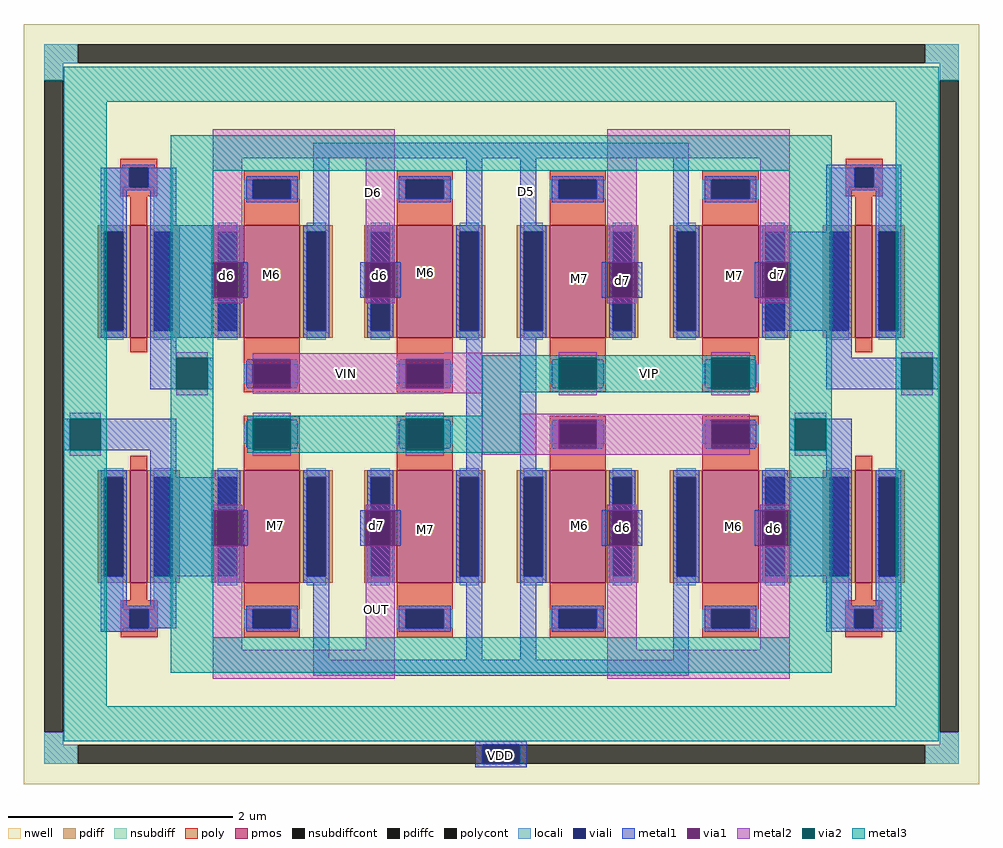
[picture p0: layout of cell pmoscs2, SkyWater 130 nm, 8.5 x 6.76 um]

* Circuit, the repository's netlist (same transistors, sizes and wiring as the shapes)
* NGSPICE file created from pmoscs2.ext - technology: sky130A

.subckt sky130_fd_pr__pfet_01v8_FH5654 a_n86_n318# a_n86_118# a_358_n415# a_300_n318#
+ a_n244_n318# a_n458_n415# a_86_21# w_n552_n418# a_28_n318# a_n358_n318# a_n458_21#
+ a_186_n318# a_300_118# a_n516_n318# a_358_21# a_n186_21# a_28_118# a_458_n318# a_86_n415#
+ a_n186_n415# a_n244_118# a_n516_118# w_n552_18# a_n358_118# a_458_118# a_186_118#
X0 a_458_118# a_358_21# a_300_118# w_n552_18# sky130_fd_pr__pfet_01v8 ad=0.29 pd=2.58 as=0.29 ps=2.58 w=1 l=0.5
X1 a_186_118# a_86_21# a_28_118# w_n552_18# sky130_fd_pr__pfet_01v8 ad=0.29 pd=2.58 as=0.29 ps=2.58 w=1 l=0.5
X2 a_n358_n318# a_n458_n415# a_n516_n318# w_n552_n418# sky130_fd_pr__pfet_01v8 ad=0.29 pd=2.58 as=0.29 ps=2.58 w=1 l=0.5
X3 a_n86_118# a_n186_21# a_n244_118# w_n552_18# sky130_fd_pr__pfet_01v8 ad=0.29 pd=2.58 as=0.29 ps=2.58 w=1 l=0.5
X4 a_458_n318# a_358_n415# a_300_n318# w_n552_n418# sky130_fd_pr__pfet_01v8 ad=0.29 pd=2.58 as=0.29 ps=2.58 w=1 l=0.5
X5 a_186_n318# a_86_n415# a_28_n318# w_n552_n418# sky130_fd_pr__pfet_01v8 ad=0.29 pd=2.58 as=0.29 ps=2.58 w=1 l=0.5
X6 a_n358_118# a_n458_21# a_n516_118# w_n552_18# sky130_fd_pr__pfet_01v8 ad=0.29 pd=2.58 as=0.29 ps=2.58 w=1 l=0.5
X7 a_n86_n318# a_n186_n415# a_n244_n318# w_n552_n418# sky130_fd_pr__pfet_01v8 ad=0.29 pd=2.58 as=0.29 ps=2.58 w=1 l=0.5
.ends

.subckt sky130_fd_pr__pfet_01v8_2XUZHN a_n73_n100# w_n109_n162# a_15_n100# a_n15_n126#
X0 a_15_n100# a_n15_n126# a_n73_n100# w_n109_n162# sky130_fd_pr__pfet_01v8 ad=0.29 pd=2.58 as=0.29 ps=2.58 w=1 l=0.15
.ends

.subckt pmoscs2 VDD D5 D6 VIP OUT VIN
Xsky130_fd_pr__pfet_01v8_FH5654_0 D5 D5 VIN D5 OUT VIP VIP VDD D5 D5 VIN D6 D5 OUT
+ VIP VIN D5 D6 VIN VIP D6 D6 VDD D5 OUT OUT sky130_fd_pr__pfet_01v8_FH5654
Xsky130_fd_pr__pfet_01v8_2XUZHN_0 OUT VDD OUT OUT sky130_fd_pr__pfet_01v8_2XUZHN
Xsky130_fd_pr__pfet_01v8_2XUZHN_1 OUT VDD OUT OUT sky130_fd_pr__pfet_01v8_2XUZHN
Xsky130_fd_pr__pfet_01v8_2XUZHN_2 D6 VDD D6 D6 sky130_fd_pr__pfet_01v8_2XUZHN
Xsky130_fd_pr__pfet_01v8_2XUZHN_3 D6 VDD D6 D6 sky130_fd_pr__pfet_01v8_2XUZHN
.ends

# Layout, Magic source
magic
tech sky130A
magscale 1 2
<< nwell >>
rect -297 -258 1402 1094
<< nsubdiff >>
rect -261 1024 -201 1058
rect 1306 1024 1366 1058
rect -261 994 -227 1024
rect 1332 994 1366 1024
rect -261 -188 -227 -166
rect 1332 -188 1366 -166
rect -261 -222 -201 -188
rect 1306 -222 1366 -188
<< nsubdiffcont >>
rect -201 1024 1306 1058
rect -261 -166 -227 994
rect 1332 -166 1366 994
rect -201 -222 1306 -188
<< poly >>
rect -126 838 -60 854
rect -126 804 -110 838
rect -76 804 -60 838
rect -126 788 -60 804
rect 1165 838 1231 854
rect 1165 804 1181 838
rect 1215 804 1231 838
rect 1165 788 1231 804
rect -108 762 -78 788
rect 1182 760 1212 788
rect -108 69 -78 75
rect 1182 69 1212 100
rect -125 53 -59 69
rect -125 19 -109 53
rect -75 19 -59 53
rect -125 3 -59 19
rect 1164 53 1230 69
rect 1164 19 1180 53
rect 1214 19 1230 53
rect 1164 3 1230 19
<< polycont >>
rect -110 804 -76 838
rect 1181 804 1215 838
rect -109 19 -75 53
rect 1180 19 1214 53
<< locali >>
rect -261 1024 -201 1058
rect 1306 1024 1366 1058
rect -261 994 -227 1024
rect 1332 994 1366 1024
rect -154 804 -110 838
rect -76 804 -32 838
rect -154 736 -120 804
rect -66 736 -32 804
rect 1136 804 1181 838
rect 1215 804 1258 838
rect 1136 740 1170 804
rect 1224 738 1258 804
rect -154 53 -120 97
rect -66 53 -32 98
rect -154 19 -109 53
rect -75 19 -32 53
rect 1136 53 1170 96
rect 1224 53 1258 96
rect 1136 19 1180 53
rect 1214 19 1258 53
rect -154 13 -120 19
rect -261 -188 -227 -166
rect 1332 -188 1366 -166
rect -261 -222 -201 -188
rect 1306 -222 1366 -188
<< viali >>
rect -110 804 -76 838
rect 1181 804 1215 838
rect -109 19 -75 53
rect 1180 19 1214 53
rect 518 -222 585 -188
<< metal1 >>
rect 218 855 886 883
rect -122 838 -64 844
rect -160 804 -110 838
rect -76 804 -26 838
rect -160 798 -26 804
rect -160 724 -114 798
rect -72 736 -26 798
rect -72 724 82 736
rect 218 724 246 855
rect 490 724 518 855
rect 586 724 614 855
rect 858 724 886 855
rect 1130 838 1264 844
rect 1130 804 1181 838
rect 1215 804 1264 838
rect 1130 798 1264 804
rect 1130 730 1176 798
rect 1218 730 1264 798
rect -66 670 82 724
rect 1022 670 1170 724
rect -66 607 39 670
rect 91 607 101 670
rect 301 607 311 670
rect 363 607 373 670
rect 731 607 741 670
rect 793 607 803 670
rect 1003 607 1013 670
rect 1065 607 1170 670
rect -66 548 82 607
rect 1022 548 1170 607
rect -72 536 82 548
rect -72 444 -26 536
rect 30 444 40 500
rect 100 446 110 498
rect 178 446 188 498
rect 372 446 382 498
rect 450 446 460 498
rect -226 336 -216 392
rect -160 336 -26 392
rect 100 338 110 390
rect 178 338 188 390
rect 372 338 382 390
rect 450 338 460 390
rect -72 293 -26 336
rect 490 288 518 548
rect 586 288 614 548
rect 1130 500 1176 539
rect 644 446 654 498
rect 722 446 732 498
rect 916 446 926 498
rect 994 446 1004 498
rect 1130 444 1264 500
rect 1320 444 1330 500
rect 644 338 654 390
rect 722 338 732 390
rect 916 338 926 390
rect 994 338 1004 390
rect 1064 336 1074 392
rect 1130 300 1176 392
rect -66 229 82 288
rect 1022 229 1170 288
rect -66 166 39 229
rect 91 166 101 229
rect 301 166 311 229
rect 363 166 373 229
rect 731 166 741 229
rect 793 166 803 229
rect 1003 166 1013 229
rect 1065 166 1170 229
rect -66 112 82 166
rect 1022 112 1170 166
rect -160 59 -114 101
rect -72 59 -26 106
rect -160 53 -26 59
rect -160 19 -109 53
rect -75 19 -26 53
rect -160 13 -63 19
rect 218 -37 246 112
rect 490 -37 518 112
rect 586 -37 614 112
rect 858 -37 886 112
rect 1130 59 1176 100
rect 1218 59 1264 100
rect 1130 53 1264 59
rect 1130 19 1180 53
rect 1214 19 1264 53
rect 1130 13 1264 19
rect 218 -65 886 -37
rect 506 -188 597 -182
rect 506 -222 518 -188
rect 585 -222 597 -188
rect 506 -228 597 -222
<< via1 >>
rect 39 607 91 670
rect 311 607 363 670
rect 741 607 793 670
rect 1013 607 1065 670
rect -26 444 30 500
rect 110 446 178 498
rect 382 446 450 498
rect -216 336 -160 392
rect 110 338 178 390
rect 382 338 450 390
rect 654 446 722 498
rect 926 446 994 498
rect 1264 444 1320 500
rect 654 338 722 390
rect 926 338 994 390
rect 1074 336 1130 392
rect 39 166 91 229
rect 311 166 363 229
rect 741 166 793 229
rect 1013 166 1065 229
<< metal2 >>
rect 39 855 363 907
rect 39 670 91 855
rect 39 597 91 607
rect 311 670 363 855
rect 311 597 363 607
rect 741 855 1065 907
rect 741 670 793 855
rect 741 597 793 607
rect 1013 670 1065 855
rect 1013 597 1065 607
rect -26 500 30 510
rect 450 508 586 509
rect -26 434 30 444
rect 110 498 586 508
rect 178 446 382 498
rect 450 446 586 498
rect 110 437 586 446
rect 110 436 450 437
rect -216 392 -160 402
rect -216 326 -160 336
rect 110 392 178 402
rect 110 326 178 336
rect 382 392 450 402
rect 382 326 450 336
rect 518 401 586 437
rect 654 500 722 510
rect 654 434 722 444
rect 926 500 994 510
rect 926 434 994 444
rect 1264 500 1320 510
rect 1264 434 1320 444
rect 518 400 722 401
rect 518 390 994 400
rect 518 338 654 390
rect 722 338 926 390
rect 518 328 994 338
rect 1074 392 1130 402
rect 1074 326 1130 336
rect 39 229 91 239
rect 39 -19 91 166
rect 311 229 363 239
rect 311 -19 363 166
rect 39 -71 363 -19
rect 741 229 793 239
rect 741 -19 793 166
rect 1013 229 1065 239
rect 1013 -19 1065 166
rect 741 -71 1065 -19
<< via2 >>
rect -26 444 30 500
rect -216 336 -160 392
rect 110 390 178 392
rect 110 338 178 390
rect 110 336 178 338
rect 382 390 450 392
rect 382 338 450 390
rect 382 336 450 338
rect 654 498 722 500
rect 654 446 722 498
rect 654 444 722 446
rect 926 498 994 500
rect 926 446 994 498
rect 926 444 994 446
rect 1264 444 1320 500
rect 1074 336 1130 392
<< metal3 >>
rect -226 956 1330 1018
rect -226 392 -150 956
rect -226 336 -216 392
rect -160 336 -150 392
rect -226 -120 -150 336
rect -36 833 1140 896
rect -36 500 40 833
rect -36 444 -26 500
rect 30 444 40 500
rect -36 3 40 444
rect 518 500 1004 505
rect 518 444 654 500
rect 722 444 926 500
rect 994 444 1004 500
rect 518 439 1004 444
rect 518 397 586 439
rect 100 392 586 397
rect 100 336 110 392
rect 178 336 382 392
rect 450 336 586 392
rect 100 331 586 336
rect 1064 392 1140 833
rect 1064 336 1074 392
rect 1130 336 1140 392
rect 1064 3 1140 336
rect -36 -60 1140 3
rect 1254 500 1330 956
rect 1254 444 1264 500
rect 1320 444 1330 500
rect 1254 -120 1330 444
rect -226 -182 1330 -120
use sky130_fd_pr__pfet_01v8_2XUZHN  sky130_fd_pr__pfet_01v8_2XUZHN_0
transform 1 0 1197 0 1 636
box -109 -162 109 162
use sky130_fd_pr__pfet_01v8_2XUZHN  sky130_fd_pr__pfet_01v8_2XUZHN_1
transform 1 0 -93 0 1 200
box -109 -162 109 162
use sky130_fd_pr__pfet_01v8_2XUZHN  sky130_fd_pr__pfet_01v8_2XUZHN_2
transform 1 0 1197 0 1 200
box -109 -162 109 162
use sky130_fd_pr__pfet_01v8_2XUZHN  sky130_fd_pr__pfet_01v8_2XUZHN_3
transform 1 0 -93 0 1 636
box -109 -162 109 162
use sky130_fd_pr__pfet_01v8_FH5654  sky130_fd_pr__pfet_01v8_FH5654_0
transform 1 0 552 0 1 418
box -552 -418 552 418
<< labels >>
flabel nwell 414 651 420 652 0 FreeSans 160 0 0 0 M6
flabel nwell 688 201 694 202 0 FreeSans 160 0 0 0 M6
flabel nwell 689 641 695 642 0 FreeSans 160 0 0 0 M7
flabel nwell 414 194 420 195 0 FreeSans 160 0 0 0 M7
flabel nwell 148 201 154 202 0 FreeSans 160 0 0 0 M7
flabel via1 335 646 335 646 0 FreeSans 160 0 0 0 d6
flabel via1 63 646 63 646 0 FreeSans 160 0 0 0 d6
flabel via1 1036 196 1036 196 0 FreeSans 160 0 0 0 d6
flabel via1 768 198 768 198 0 FreeSans 160 0 0 0 d6
flabel nwell 964 646 970 647 0 FreeSans 160 0 0 0 M7
flabel nwell 962 200 968 201 0 FreeSans 160 0 0 0 M6
flabel nwell 140 648 146 649 0 FreeSans 160 0 0 0 M6
flabel nwell 550 -207 552 -206 0 FreeSans 160 0 0 0 VDD
port 8 nsew
flabel metal1 597 796 597 796 0 FreeSans 160 0 0 0 D5
port 13 nsew
flabel metal2 324 795 324 795 0 FreeSans 160 0 0 0 D6
port 22 nsew
flabel metal3 815 473 815 473 0 FreeSans 160 0 0 0 VIP
port 23 nsew
flabel via1 767 638 767 638 0 FreeSans 160 0 0 0 d7
flabel via1 331 201 331 201 0 FreeSans 160 0 0 0 d7
flabel metal2 331 53 331 53 0 FreeSans 160 0 0 0 OUT
port 26 nsew
flabel metal2 276 473 276 473 0 FreeSans 160 0 0 0 VIN
port 28 nsew
flabel via1 1043 649 1043 649 0 FreeSans 160 0 0 0 d7
<< end >>

# cell sky130_fd_pr__pfet_01v8_2XUZHN: kit device sky130_fd_pr__pfet_01v8, w 1 l 0.15 m 1 nf 1 diffcov 100 polycov 100 guard 0 glc 1 grc 1 gtc 1 gbc 1 tbcov 100 rlcov 100 topc 0 botc 0 poverlap 0 doverlap 1 lmin 0.15 wmin 0.42 compatible {sky130_fd_pr__pfet_01v8 sky130_fd_pr__pfet_01v8_lvt sky130_fd_pr__pfet_01v8_hvt sky130_fd_pr__pfet_g5v0d10v5} full_metal 1 viasrc 100 viadrn 100 viagate 100 viagb 0 viagr 0 viagl 0 viagt 0

# cell sky130_fd_pr__pfet_01v8_FH5654: kit device sky130_fd_pr__pfet_01v8, w 1 l 0.5 m 2 nf 4 diffcov 100 polycov 100 guard 0 glc 1 grc 1 gtc 1 gbc 1 tbcov 100 rlcov 100 topc 1 botc 1 poverlap 0 doverlap 0 lmin 0.15 wmin 0.42 compatible {sky130_fd_pr__pfet_01v8 sky130_fd_pr__pfet_01v8_lvt sky130_fd_pr__pfet_01v8_hvt sky130_fd_pr__pfet_g5v0d10v5} full_metal 1 viasrc 100 viadrn 100 viagate 100 viagb 0 viagr 0 viagl 0 viagt 0
